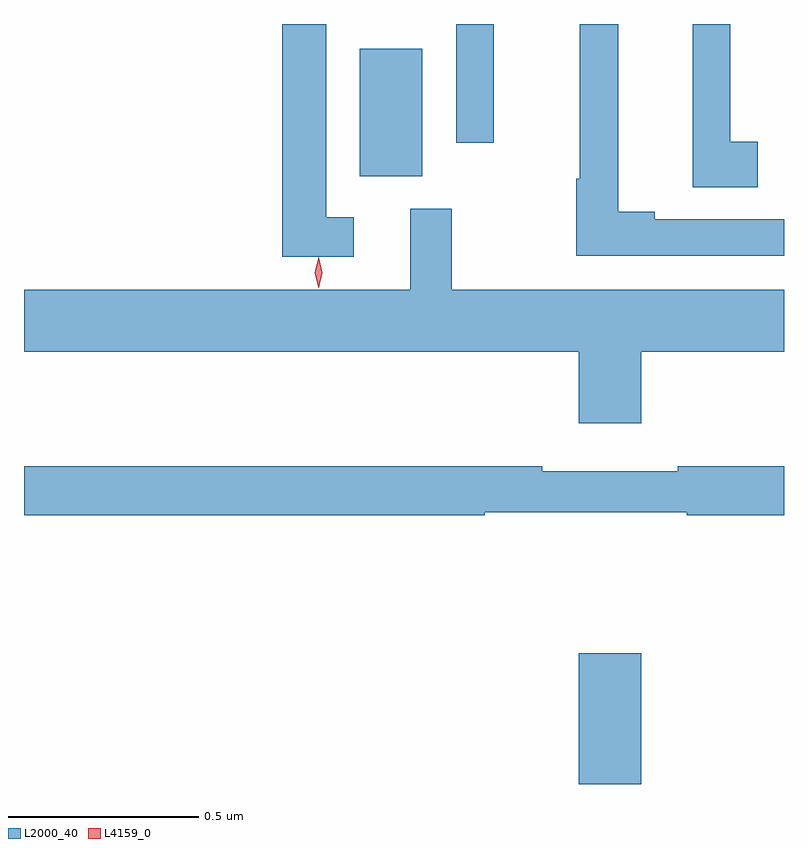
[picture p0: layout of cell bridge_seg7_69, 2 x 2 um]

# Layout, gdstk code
import gdstk
lib = gdstk.Library(unit=1e-6, precision=1e-09)
def R(c, l, rs):  # rectangles x0, y0, x1, y1
    for r in rs: c.add(gdstk.rectangle(r[:2], r[2:], *l))
def P(c, l, *ps):  # polygons
    for p in ps: c.add(gdstk.Polygon(p, *l))
L2000_40 = (2000, 40)
L4159_0 = (4159, 0)

bridge_seg7_69 = lib.new_cell('bridge_seg7_69')
R(bridge_seg7_69, L2000_40, [(1076.096,1031.447,1076.26,1031.791), (1075.52,1033.046,1075.684,1033.382), (1075.773,1033.134,1075.872,1033.447)])
P(bridge_seg7_69, L2000_40, [(1075.504,1032.939),(1075.431,1032.939),(1075.431,1033.447),(1075.315,1033.447),(1075.315,1032.834),(1075.504,1032.834)],
  [(1076.567,1033.137),(1076.494,1033.137),(1076.494,1033.447),(1076.396,1033.447),(1076.396,1033.018),(1076.567,1033.018)],
  [(1076.636,1032.933),(1076.296,1032.933),(1076.296,1032.953),(1076.2,1032.953),(1076.2,1033.447),(1076.099,1033.447),(1076.099,1033.04),(1076.089,1033.04),(1076.089,1032.837),(1076.636,1032.837)],
  [(1076.26,1032.584),(1076.636,1032.584),(1076.636,1032.748),(1075.762,1032.748),(1075.762,1032.961),(1075.652,1032.961),(1075.652,1032.748),(1074.636,1032.748),(1074.636,1032.584),(1076.096,1032.584),(1076.096,1032.396),(1076.26,1032.396)],
  [(1075.849,1032.162),(1076.38,1032.162),(1076.38,1032.154),(1076.636,1032.154),(1076.636,1032.283),(1076.356,1032.283),(1076.356,1032.27),(1076,1032.27),(1076,1032.283),(1074.636,1032.283),(1074.636,1032.154),(1075.849,1032.154)])
P(bridge_seg7_69, L4159_0, [(1075.411,1032.751),(1075.411,1032.751),(1075.401,1032.792),(1075.411,1032.833),(1075.411,1032.833),(1075.412,1032.833),(1075.421,1032.792),(1075.411,1032.751)])

lib.write_gds('bridge_seg7_69.gds')
